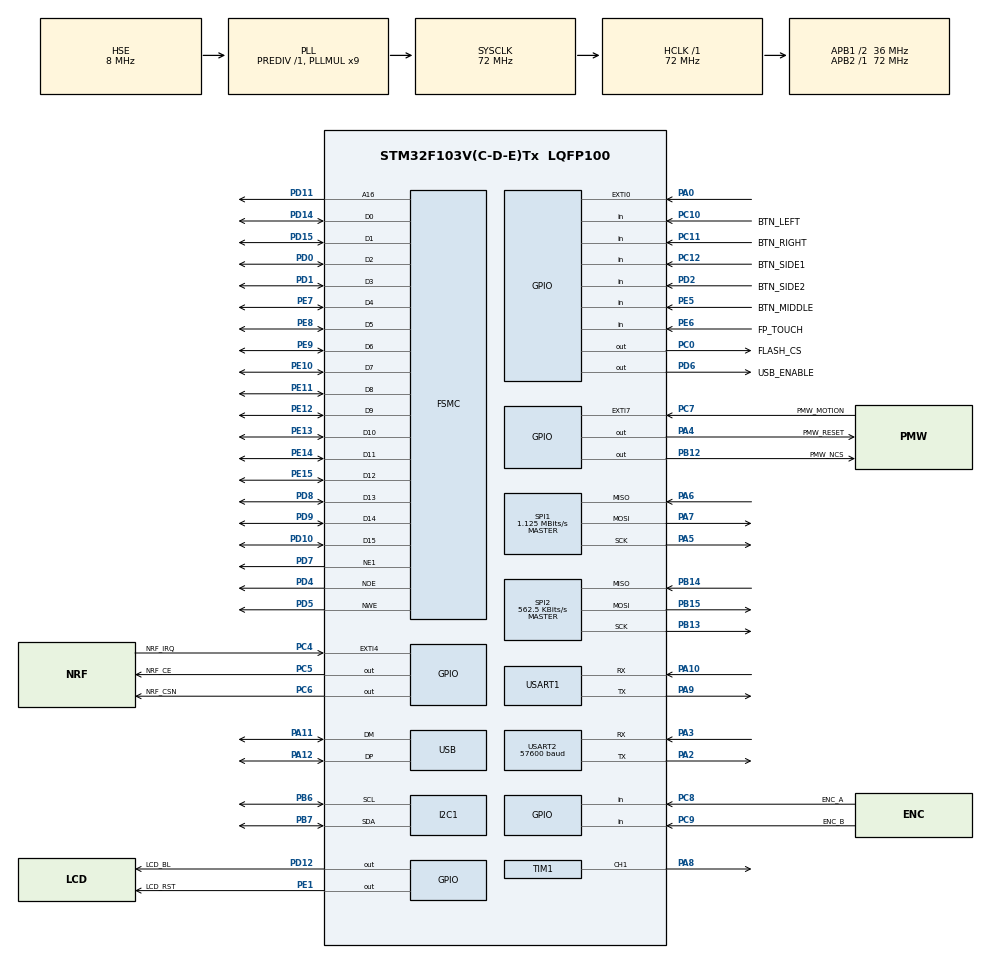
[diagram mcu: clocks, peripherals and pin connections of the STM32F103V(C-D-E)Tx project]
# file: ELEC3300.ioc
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Dma.Request0=TIM1_CH1
Dma.TIM1_CH1.0.Direction=DMA_MEMORY_TO_PERIPH
Dma.TIM1_CH1.0.Instance=DMA1_Channel2
Dma.TIM1_CH1.0.MemDataAlignment=DMA_MDATAALIGN_HALFWORD
Dma.TIM1_CH1.0.MemInc=DMA_MINC_ENABLE
Dma.TIM1_CH1.0.Mode=DMA_NORMAL
Dma.TIM1_CH1.0.PeriphDataAlignment=DMA_PDATAALIGN_HALFWORD
Dma.TIM1_CH1.0.PeriphInc=DMA_PINC_DISABLE
Dma.TIM1_CH1.0.Priority=DMA_PRIORITY_HIGH
FREERTOS.Tasks01=defaultTask,16,512,StartDefaultTask,Default,NULL,Dynamic,NULL,NULL
FREERTOS.configTOTAL_HEAP_SIZE=16384
Mcu.Family=STM32F1
Mcu.Name=STM32F103V(C-D-E)Tx
Mcu.Package=LQFP100
NVIC.DMA1_Channel2_IRQn=true\:5\:0\:false\:false\:true\:true\:false\:true\:true
NVIC.EXTI0_IRQn=true\:5\:0\:false\:false\:true\:true\:true\:true\:true
NVIC.EXTI4_IRQn=true\:5\:0\:false\:false\:true\:true\:true\:true\:true
NVIC.EXTI9_5_IRQn=true\:5\:0\:false\:false\:true\:true\:true\:true\:true
NVIC.PriorityGroup=NVIC_PRIORITYGROUP_4
NVIC.TIM4_IRQn=true\:15\:0\:false\:false\:true\:false\:false\:true\:true
NVIC.TimeBase=TIM4_IRQn
NVIC.TimeBaseIP=TIM4
NVIC.USART2_IRQn=true\:5\:0\:false\:false\:true\:true\:true\:true\:true
NVIC.USART1_IRQn=true\:5\:0\:false\:false\:true\:true\:true\:true\:true
NVIC.USB_LP_CAN1_RX0_IRQn=true\:5\:0\:false\:false\:true\:false\:true\:true\:true
OSC_IN.Mode=HSE-External-Oscillator
OSC_IN.Signal=RCC_OSC_IN
OSC_OUT.Mode=HSE-External-Oscillator
OSC_OUT.Signal=RCC_OSC_OUT
PA0-WKUP.Signal=GPXTI0
PA10.Mode=Asynchronous
PA10.Signal=USART1_RX
PA11.Mode=Device
PA11.Signal=USB_DM
PA12.Mode=Device
PA12.Signal=USB_DP
PA13.Mode=Serial_Wire
PA13.Signal=SYS_JTMS-SWDIO
PA14.Mode=Serial_Wire
PA14.Signal=SYS_JTCK-SWCLK
PA2.Mode=Asynchronous
PA2.Signal=USART2_TX
PA3.Mode=Asynchronous
PA3.Signal=USART2_RX
PA4.GPIO_Label=PMW_RESET
PA4.PinState=GPIO_PIN_SET
PA4.Signal=GPIO_Output
PA5.Mode=Full_Duplex_Master
PA5.Signal=SPI1_SCK
PA6.Mode=Full_Duplex_Master
PA6.Signal=SPI1_MISO
PA7.Mode=Full_Duplex_Master
PA7.Signal=SPI1_MOSI
PA8.GPIO_Speed=GPIO_SPEED_FREQ_HIGH
PA8.Signal=S_TIM1_CH1
PA9.Mode=Asynchronous
PA9.Signal=USART1_TX
PB12.GPIO_Label=PMW_NCS
PB12.PinState=GPIO_PIN_SET
PB12.Signal=GPIO_Output
PB13.Mode=Full_Duplex_Master
PB13.Signal=SPI2_SCK
PB14.Mode=Full_Duplex_Master
PB14.Signal=SPI2_MISO
PB15.Mode=Full_Duplex_Master
PB15.Signal=SPI2_MOSI
PB6.Mode=I2C
PB6.Signal=I2C1_SCL
PB7.Mode=I2C
PB7.Signal=I2C1_SDA
PC0.GPIO_Label=FLASH_CS
PC0.PinState=GPIO_PIN_SET
PC0.Signal=GPIO_Output
PC10.GPIO_Label=BTN_LEFT
PC10.GPIO_PuPd=GPIO_PULLUP
PC10.Signal=GPIO_Input
PC11.GPIO_Label=BTN_RIGHT
PC11.GPIO_PuPd=GPIO_PULLUP
PC11.Signal=GPIO_Input
PC12.GPIO_Label=BTN_SIDE1
PC12.GPIO_PuPd=GPIO_PULLUP
PC12.Signal=GPIO_Input
PC4.GPIO_Label=NRF_IRQ
PC4.GPIO_ModeDefaultEXTI=GPIO_MODE_IT_FALLING
PC4.GPIO_PuPd=GPIO_PULLUP
PC4.Signal=GPXTI4
PC5.GPIO_Label=NRF_CE
PC5.Signal=GPIO_Output
PC6.GPIO_Label=NRF_CSN
PC6.PinState=GPIO_PIN_SET
PC6.Signal=GPIO_Output
PC7.GPIO_Label=PMW_MOTION
PC7.GPIO_ModeDefaultEXTI=GPIO_MODE_IT_FALLING
PC7.GPIO_PuPd=GPIO_PULLUP
PC7.Signal=GPXTI7
PC8.GPIO_Label=ENC_A
PC8.GPIO_PuPd=GPIO_PULLUP
PC8.Signal=GPIO_Input
PC9.GPIO_Label=ENC_B
PC9.GPIO_PuPd=GPIO_PULLUP
PC9.Signal=GPIO_Input
PD0.Mode=16b-d1
PD0.Signal=FSMC_D2
PD1.Mode=16b-d1
PD1.Signal=FSMC_D3
PD10.Mode=16b-d1
PD10.Signal=FSMC_D15
PD11.Mode=A16_1
PD11.Signal=FSMC_A16
PD12.GPIO_Label=LCD_BL
PD12.GPIO_Speed=GPIO_SPEED_FREQ_HIGH
PD12.PinState=GPIO_PIN_RESET
PD12.Signal=GPIO_Output
PD14.Mode=16b-d1
PD14.Signal=FSMC_D0
PD15.Mode=16b-d1
PD15.Signal=FSMC_D1
PD2.GPIO_Label=BTN_SIDE2
PD2.GPIO_PuPd=GPIO_PULLUP
PD2.Signal=GPIO_Input
PD4.Mode=Lcd1
PD4.Signal=FSMC_NOE
PD5.Mode=Lcd1
PD5.Signal=FSMC_NWE
PD6.GPIO_Label=USB_ENABLE
PD6.PinState=GPIO_PIN_SET
PD6.Signal=GPIO_Output
PD7.Mode=NorPsramChipSelect1_1
PD7.Signal=FSMC_NE1
PD8.Mode=16b-d1
PD8.Signal=FSMC_D13
PD9.Mode=16b-d1
PD9.Signal=FSMC_D14
PE1.GPIO_Label=LCD_RST
PE1.GPIO_Speed=GPIO_SPEED_FREQ_HIGH
PE1.PinState=GPIO_PIN_RESET
PE1.Signal=GPIO_Output
PE10.Mode=16b-d1
PE10.Signal=FSMC_D7
PE11.Mode=16b-d1
PE11.Signal=FSMC_D8
PE12.Mode=16b-d1
PE12.Signal=FSMC_D9
PE13.Mode=16b-d1
PE13.Signal=FSMC_D10
PE14.Mode=16b-d1
PE14.Signal=FSMC_D11
PE15.Mode=16b-d1
PE15.Signal=FSMC_D12
PE5.GPIO_Label=BTN_MIDDLE
PE5.GPIO_PuPd=GPIO_PULLUP
PE5.Signal=GPIO_Input
PE6.GPIO_Label=FP_TOUCH
PE6.Signal=GPIO_Input
PE7.Mode=16b-d1
PE7.Signal=FSMC_D4
PE8.Mode=16b-d1
PE8.Signal=FSMC_D5
PE9.Mode=16b-d1
PE9.Signal=FSMC_D6
ProjectManager.HeapSize=0x200
ProjectManager.StackSize=0x400
ProjectManager.TargetToolchain=CMake
RCC.AHBFreq_Value=72000000
RCC.APB1CLKDivider=RCC_HCLK_DIV2
RCC.APB1Freq_Value=36000000
RCC.APB1TimFreq_Value=72000000
RCC.APB2Freq_Value=72000000
RCC.APB2TimFreq_Value=72000000
RCC.HCLKFreq_Value=72000000
RCC.PLLMUL=RCC_PLL_MUL9
RCC.PLLSourceVirtual=RCC_PLLSOURCE_HSE
RCC.SYSCLKFreq_VALUE=72000000
RCC.SYSCLKSource=RCC_SYSCLKSOURCE_PLLCLK
RCC.USBPrescaler=RCC_USBCLKSOURCE_PLL_DIV1_5
RCC.USBFreq_Value=48000000
SH.S_TIM1_CH1.0=TIM1_CH1,PWM Generation1 CH1
SPI1.BaudRatePrescaler=SPI_BAUDRATEPRESCALER_64
SPI1.CalculateBaudRate=1.125 MBits/s
SPI1.Direction=SPI_DIRECTION_2LINES
SPI1.Mode=SPI_MODE_MASTER
SPI1.VirtualType=VM_MASTER
SPI2.BaudRatePrescaler=SPI_BAUDRATEPRESCALER_64
SPI2.CLKPhase=SPI_PHASE_2EDGE
SPI2.CLKPolarity=SPI_POLARITY_HIGH
SPI2.CalculateBaudRate=562.5 KBits/s
SPI2.Direction=SPI_DIRECTION_2LINES
SPI2.Mode=SPI_MODE_MASTER
SPI2.VirtualType=VM_MASTER
TIM1.Channel-PWM\ Generation1\ CH1=TIM_CHANNEL_1
TIM1.Period=89
USART1.VirtualMode=VM_ASYNC
USART2.BaudRate=57600
USART2.VirtualMode=VM_ASYNC
USB_DEVICE.CLASS_NAME_FS=HID
USB_DEVICE.VirtualMode=Hid
USB_DEVICE.VirtualModeFS=Hid_FS
VP_FREERTOS_VS_CMSIS_V2.Mode=CMSIS_V2
VP_SYS_VS_tim4.Mode=TIM4
VP_TIM1_VS_ClockSourceINT.Mode=Internal
VP_USB_DEVICE_VS_USB_DEVICE_HID_FS.Mode=HID_FS
board=custom

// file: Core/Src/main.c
/* USER CODE BEGIN Header */
/**
  ******************************************************************************
  * @file           : main.c
  * @brief          : Main program body
  ******************************************************************************
  * @attention
  *
  * Copyright (c) 2026 STMicroelectronics.
  * All rights reserved.
  *
  * This software is licensed under terms that can be found in the LICENSE file
  * in the root directory of this software component.
  * If no LICENSE file comes with this software, it is provided AS-IS.
  *
  ******************************************************************************
  */
/* USER CODE END Header */
#include "main.h"
#include "cmsis_os.h"

/* USER CODE BEGIN Includes */
#include "lcd.h"
#include "mouse_app.h"
#include "zw3020.h"
#include "usb_device.h"
#include "ws2812b.h"
#include "ws2812b_task.h"
#include "console_uart.h"
/* USER CODE END Includes */

I2C_HandleTypeDef hi2c1;

SPI_HandleTypeDef hspi1;
SPI_HandleTypeDef hspi2;

TIM_HandleTypeDef htim1;
DMA_HandleTypeDef hdma_tim1_ch1;

UART_HandleTypeDef huart1;
UART_HandleTypeDef huart2;

SRAM_HandleTypeDef hsram1;

/* Definitions for defaultTask */
osThreadId_t defaultTaskHandle;
const osThreadAttr_t defaultTask_attributes = {
  .name = "defaultTask",
  .stack_size = 512 * 4,
  .priority = (osPriority_t) osPriorityBelowNormal,
};

void SystemClock_Config(void);
static void MX_GPIO_Init(void);
static void MX_DMA_Init(void);
static void MX_I2C1_Init(void);
static void MX_SPI1_Init(void);
static void MX_SPI2_Init(void);
static void MX_USART1_UART_Init(void);
static void MX_USART2_UART_Init(void);
static void MX_FSMC_Init(void);
static void MX_TIM1_Init(void);
void StartDefaultTask(void *argument);

int main(void)
{

  /* MCU Configuration--------------------------------------------------------*/

  /* Reset of all peripherals, Initializes the Flash interface and the Systick. */
  HAL_Init();

  /* Configure the system clock */
  SystemClock_Config();

  /* Initialize all configured peripherals */
  MX_GPIO_Init();
  MX_DMA_Init();
  MX_I2C1_Init();
  MX_SPI1_Init();
  MX_SPI2_Init();
  MX_USART1_UART_Init();
  MX_USART2_UART_Init();
  MX_FSMC_Init();
  MX_TIM1_Init();
  /* USER CODE BEGIN 2 */
  LCD_INIT();
  LCD_DrawString(0, 0, "Starting mouse sensors...");
  MX_USB_DEVICE_Init();
  /* USER CODE END 2 */

  /* Init scheduler */
  osKernelInitialize();

  /* Create the thread(s) */
  /* creation of defaultTask */
  defaultTaskHandle = osThreadNew(StartDefaultTask, NULL, &defaultTask_attributes);

  /* USER CODE BEGIN RTOS_THREADS */
  if (defaultTaskHandle == NULL || !MouseApp_Init(&hspi2, &huart2, &huart1, &hi2c1))
  {
    LCD_DrawString(0, 20, "RTOS/sensor startup failed");
    Error_Handler();
  }
  if (!WS2812B_TaskStart(&htim1))
  {
    LCD_DrawString(0, 40, "LED task/config startup failed");
    Error_Handler();
  }
  /* USER CODE END RTOS_THREADS */

  /* Start scheduler */
  osKernelStart();

  /* We should never get here as control is now taken by the scheduler */

  /* Infinite loop */
  while (1)
  {

  }
}

void SystemClock_Config(void)
{
  RCC_OscInitTypeDef RCC_OscInitStruct = {0};
  RCC_ClkInitTypeDef RCC_ClkInitStruct = {0};
  RCC_PeriphCLKInitTypeDef usb_clock = {0};

  /** Initializes the RCC Oscillators according to the specified parameters
  * in the RCC_OscInitTypeDef structure.
  */
  RCC_OscInitStruct.OscillatorType = RCC_OSCILLATORTYPE_HSE;
  RCC_OscInitStruct.HSEState = RCC_HSE_ON;
  RCC_OscInitStruct.HSEPredivValue = RCC_HSE_PREDIV_DIV1;
  RCC_OscInitStruct.HSIState = RCC_HSI_ON;
  RCC_OscInitStruct.PLL.PLLState = RCC_PLL_ON;
  RCC_OscInitStruct.PLL.PLLSource = RCC_PLLSOURCE_HSE;
  RCC_OscInitStruct.PLL.PLLMUL = RCC_PLL_MUL9;
  if (HAL_RCC_OscConfig(&RCC_OscInitStruct) != HAL_OK)
  {
    Error_Handler();
  }

  /** Initializes the CPU, AHB and APB buses clocks
  */
  RCC_ClkInitStruct.ClockType = RCC_CLOCKTYPE_HCLK|RCC_CLOCKTYPE_SYSCLK
                              |RCC_CLOCKTYPE_PCLK1|RCC_CLOCKTYPE_PCLK2;
  RCC_ClkInitStruct.SYSCLKSource = RCC_SYSCLKSOURCE_PLLCLK;
  RCC_ClkInitStruct.AHBCLKDivider = RCC_SYSCLK_DIV1;
  RCC_ClkInitStruct.APB1CLKDivider = RCC_HCLK_DIV2;
  RCC_ClkInitStruct.APB2CLKDivider = RCC_HCLK_DIV1;

  if (HAL_RCC_ClockConfig(&RCC_ClkInitStruct, FLASH_LATENCY_2) != HAL_OK)
  {
    Error_Handler();
  }
  /* Keep CPU/peripheral clocks at 72 MHz; USB needs PLL / 1.5 = 48 MHz. */
  usb_clock.PeriphClockSelection = RCC_PERIPHCLK_USB;
  usb_clock.UsbClockSelection = RCC_USBCLKSOURCE_PLL_DIV1_5;
  if (HAL_RCCEx_PeriphCLKConfig(&usb_clock) != HAL_OK)
  {
    Error_Handler();
  }
}

static void MX_I2C1_Init(void)
{

  hi2c1.Instance = I2C1;
  hi2c1.Init.ClockSpeed = 100000;
  hi2c1.Init.DutyCycle = I2C_DUTYCYCLE_2;
  hi2c1.Init.OwnAddress1 = 0;
  hi2c1.Init.AddressingMode = I2C_ADDRESSINGMODE_7BIT;
  hi2c1.Init.DualAddressMode = I2C_DUALADDRESS_DISABLE;
  hi2c1.Init.OwnAddress2 = 0;
  hi2c1.Init.GeneralCallMode = I2C_GENERALCALL_DISABLE;
  hi2c1.Init.NoStretchMode = I2C_NOSTRETCH_DISABLE;
  if (HAL_I2C_Init(&hi2c1) != HAL_OK)
  {
    Error_Handler();
  }

}

static void MX_SPI1_Init(void)
{

  /* SPI1 parameter configuration*/
  hspi1.Instance = SPI1;
  hspi1.Init.Mode = SPI_MODE_MASTER;
  hspi1.Init.Direction = SPI_DIRECTION_2LINES;
  hspi1.Init.DataSize = SPI_DATASIZE_8BIT;
  hspi1.Init.CLKPolarity = SPI_POLARITY_LOW;
  hspi1.Init.CLKPhase = SPI_PHASE_1EDGE;
  hspi1.Init.NSS = SPI_NSS_SOFT;
  hspi1.Init.BaudRatePrescaler = SPI_BAUDRATEPRESCALER_64;
  hspi1.Init.FirstBit = SPI_FIRSTBIT_MSB;
  hspi1.Init.TIMode = SPI_TIMODE_DISABLE;
  hspi1.Init.CRCCalculation = SPI_CRCCALCULATION_DISABLE;
  hspi1.Init.CRCPolynomial = 10;
  if (HAL_SPI_Init(&hspi1) != HAL_OK)
  {
    Error_Handler();
  }

}

static void MX_SPI2_Init(void)
{

  /* SPI2 parameter configuration*/
  hspi2.Instance = SPI2;
  hspi2.Init.Mode = SPI_MODE_MASTER;
  hspi2.Init.Direction = SPI_DIRECTION_2LINES;
  hspi2.Init.DataSize = SPI_DATASIZE_8BIT;
  hspi2.Init.CLKPolarity = SPI_POLARITY_HIGH;
  hspi2.Init.CLKPhase = SPI_PHASE_2EDGE;
  hspi2.Init.NSS = SPI_NSS_SOFT;
  hspi2.Init.BaudRatePrescaler = SPI_BAUDRATEPRESCALER_64;
  hspi2.Init.FirstBit = SPI_FIRSTBIT_MSB;
  hspi2.Init.TIMode = SPI_TIMODE_DISABLE;
  hspi2.Init.CRCCalculation = SPI_CRCCALCULATION_DISABLE;
  hspi2.Init.CRCPolynomial = 10;
  if (HAL_SPI_Init(&hspi2) != HAL_OK)
  {
    Error_Handler();
  }

}

static void MX_TIM1_Init(void)
{

  TIM_ClockConfigTypeDef sClockSourceConfig = {0};
  TIM_MasterConfigTypeDef sMasterConfig = {0};
  TIM_OC_InitTypeDef sConfigOC = {0};
  TIM_BreakDeadTimeConfigTypeDef sBreakDeadTimeConfig = {0};

  htim1.Instance = TIM1;
  htim1.Init.Prescaler = 0;
  htim1.Init.CounterMode = TIM_COUNTERMODE_UP;
  htim1.Init.Period = 89;
  htim1.Init.ClockDivision = TIM_CLOCKDIVISION_DIV1;
  htim1.Init.RepetitionCounter = 0;
  htim1.Init.AutoReloadPreload = TIM_AUTORELOAD_PRELOAD_DISABLE;
  if (HAL_TIM_Base_Init(&htim1) != HAL_OK)
  {
    Error_Handler();
  }
  sClockSourceConfig.ClockSource = TIM_CLOCKSOURCE_INTERNAL;
  if (HAL_TIM_ConfigClockSource(&htim1, &sClockSourceConfig) != HAL_OK)
  {
    Error_Handler();
  }
  if (HAL_TIM_PWM_Init(&htim1) != HAL_OK)
  {
    Error_Handler();
  }
  sMasterConfig.MasterOutputTrigger = TIM_TRGO_RESET;
  sMasterConfig.MasterSlaveMode = TIM_MASTERSLAVEMODE_DISABLE;
  if (HAL_TIMEx_MasterConfigSynchronization(&htim1, &sMasterConfig) != HAL_OK)
  {
    Error_Handler();
  }
  sConfigOC.OCMode = TIM_OCMODE_PWM1;
  sConfigOC.Pulse = 0;
  sConfigOC.OCPolarity = TIM_OCPOLARITY_HIGH;
  sConfigOC.OCNPolarity = TIM_OCNPOLARITY_HIGH;
  sConfigOC.OCFastMode = TIM_OCFAST_DISABLE;
  sConfigOC.OCIdleState = TIM_OCIDLESTATE_RESET;
  sConfigOC.OCNIdleState = TIM_OCNIDLESTATE_RESET;
  if (HAL_TIM_PWM_ConfigChannel(&htim1, &sConfigOC, TIM_CHANNEL_1) != HAL_OK)
  {
    Error_Handler();
  }
  sBreakDeadTimeConfig.OffStateRunMode = TIM_OSSR_DISABLE;
  sBreakDeadTimeConfig.OffStateIDLEMode = TIM_OSSI_DISABLE;
  sBreakDeadTimeConfig.LockLevel = TIM_LOCKLEVEL_OFF;
  sBreakDeadTimeConfig.DeadTime = 0;
  sBreakDeadTimeConfig.BreakState = TIM_BREAK_DISABLE;
  sBreakDeadTimeConfig.BreakPolarity = TIM_BREAKPOLARITY_HIGH;
  sBreakDeadTimeConfig.AutomaticOutput = TIM_AUTOMATICOUTPUT_DISABLE;
  if (HAL_TIMEx_ConfigBreakDeadTime(&htim1, &sBreakDeadTimeConfig) != HAL_OK)
  {
    Error_Handler();
  }
  HAL_TIM_MspPostInit(&htim1);

}

static void MX_USART1_UART_Init(void)
{

  huart1.Instance = USART1;
  huart1.Init.BaudRate = 115200;
  huart1.Init.WordLength = UART_WORDLENGTH_8B;
  huart1.Init.StopBits = UART_STOPBITS_1;
  huart1.Init.Parity = UART_PARITY_NONE;
  huart1.Init.Mode = UART_MODE_TX_RX;
  huart1.Init.HwFlowCtl = UART_HWCONTROL_NONE;
  huart1.Init.OverSampling = UART_OVERSAMPLING_16;
  if (HAL_UART_Init(&huart1) != HAL_OK)
  {
    Error_Handler();
  }

}

static void MX_USART2_UART_Init(void)
{

  huart2.Instance = USART2;
  huart2.Init.BaudRate = 57600;
  huart2.Init.WordLength = UART_WORDLENGTH_8B;
  huart2.Init.StopBits = UART_STOPBITS_1;
  huart2.Init.Parity = UART_PARITY_NONE;
  huart2.Init.Mode = UART_MODE_TX_RX;
  huart2.Init.HwFlowCtl = UART_HWCONTROL_NONE;
  huart2.Init.OverSampling = UART_OVERSAMPLING_16;
  if (HAL_UART_Init(&huart2) != HAL_OK)
  {
    Error_Handler();
  }

}

static void MX_DMA_Init(void)
{

  /* DMA controller clock enable */
  __HAL_RCC_DMA1_CLK_ENABLE();

  /* DMA interrupt init */
  /* DMA1_Channel2_IRQn interrupt configuration */
  HAL_NVIC_SetPriority(DMA1_Channel2_IRQn, 5, 0);
  HAL_NVIC_EnableIRQ(DMA1_Channel2_IRQn);

}

static void MX_GPIO_Init(void)
{
  GPIO_InitTypeDef GPIO_InitStruct = {0};

  /* GPIO Ports Clock Enable */
  __HAL_RCC_GPIOE_CLK_ENABLE();
  __HAL_RCC_GPIOC_CLK_ENABLE();
  __HAL_RCC_GPIOA_CLK_ENABLE();
  __HAL_RCC_GPIOB_CLK_ENABLE();
  __HAL_RCC_GPIOD_CLK_ENABLE();

  /*Configure GPIO pin Output Level */
  HAL_GPIO_WritePin(GPIOC, FLASH_CS_Pin|NRF_CSN_Pin, GPIO_PIN_SET);

  /*Configure GPIO pin Output Level */
  HAL_GPIO_WritePin(PMW_RESET_GPIO_Port, PMW_RESET_Pin, GPIO_PIN_SET);

  /*Configure GPIO pin Output Level */
  HAL_GPIO_WritePin(NRF_CE_GPIO_Port, NRF_CE_Pin, GPIO_PIN_RESET);

  /*Configure GPIO pin Output Level */
  HAL_GPIO_WritePin(PMW_NCS_GPIO_Port, PMW_NCS_Pin, GPIO_PIN_SET);

  /*Configure GPIO pin Output Level */
  HAL_GPIO_WritePin(LCD_BL_GPIO_Port, LCD_BL_Pin, GPIO_PIN_RESET);

  /*Configure GPIO pin Output Level */
  HAL_GPIO_WritePin(LCD_RST_GPIO_Port, LCD_RST_Pin, GPIO_PIN_RESET);

  /*Configure GPIO pin : BTN_MIDDLE_Pin */
  GPIO_InitStruct.Pin = BTN_MIDDLE_Pin;
  GPIO_InitStruct.Mode = GPIO_MODE_INPUT;
  GPIO_InitStruct.Pull = GPIO_PULLUP;
  HAL_GPIO_Init(BTN_MIDDLE_GPIO_Port, &GPIO_InitStruct);

  /*Configure GPIO pins : FLASH_CS_Pin NRF_CE_Pin NRF_CSN_Pin */
  GPIO_InitStruct.Pin = FLASH_CS_Pin|NRF_CE_Pin|NRF_CSN_Pin;
  GPIO_InitStruct.Mode = GPIO_MODE_OUTPUT_PP;
  GPIO_InitStruct.Pull = GPIO_NOPULL;
  GPIO_InitStruct.Speed = GPIO_SPEED_FREQ_LOW;
  HAL_GPIO_Init(GPIOC, &GPIO_InitStruct);

  /*Configure GPIO pin : PA0 */
  GPIO_InitStruct.Pin = GPIO_PIN_0;
  GPIO_InitStruct.Mode = GPIO_MODE_IT_RISING;
  GPIO_InitStruct.Pull = GPIO_NOPULL;
  HAL_GPIO_Init(GPIOA, &GPIO_InitStruct);

  /*Configure GPIO pin : PMW_RESET_Pin */
  GPIO_InitStruct.Pin = PMW_RESET_Pin;
  GPIO_InitStruct.Mode = GPIO_MODE_OUTPUT_PP;
  GPIO_InitStruct.Pull = GPIO_NOPULL;
  GPIO_InitStruct.Speed = GPIO_SPEED_FREQ_LOW;
  HAL_GPIO_Init(PMW_RESET_GPIO_Port, &GPIO_InitStruct);

  /*Configure GPIO pins : NRF_IRQ_Pin PMW_MOTION_Pin */
  GPIO_InitStruct.Pin = NRF_IRQ_Pin|PMW_MOTION_Pin;
  GPIO_InitStruct.Mode = GPIO_MODE_IT_FALLING;
  GPIO_InitStruct.Pull = GPIO_PULLUP;
  HAL_GPIO_Init(GPIOC, &GPIO_InitStruct);

  /*Configure GPIO pin : PMW_NCS_Pin */
  GPIO_InitStruct.Pin = PMW_NCS_Pin;
  GPIO_InitStruct.Mode = GPIO_MODE_OUTPUT_PP;
  GPIO_InitStruct.Pull = GPIO_NOPULL;
  GPIO_InitStruct.Speed = GPIO_SPEED_FREQ_LOW;
  HAL_GPIO_Init(PMW_NCS_GPIO_Port, &GPIO_InitStruct);

  /*Configure GPIO pin : LCD_BL_Pin */
  GPIO_InitStruct.Pin = LCD_BL_Pin;
  GPIO_InitStruct.Mode = GPIO_MODE_OUTPUT_PP;
  GPIO_InitStruct.Pull = GPIO_NOPULL;
  GPIO_InitStruct.Speed = GPIO_SPEED_FREQ_HIGH;
  HAL_GPIO_Init(LCD_BL_GPIO_Port, &GPIO_InitStruct);

  /*Configure GPIO pins : ENC_A_Pin ENC_B_Pin BTN_LEFT_Pin BTN_RIGHT_Pin
                           BTN_SIDE1_Pin */
  GPIO_InitStruct.Pin = ENC_A_Pin|ENC_B_Pin|BTN_LEFT_Pin|BTN_RIGHT_Pin
                          |BTN_SIDE1_Pin;
  GPIO_InitStruct.Mode = GPIO_MODE_INPUT;
  GPIO_InitStruct.Pull = GPIO_PULLUP;
  HAL_GPIO_Init(GPIOC, &GPIO_InitStruct);

  /*Configure GPIO pin : BTN_SIDE2_Pin */
  GPIO_InitStruct.Pin = BTN_SIDE2_Pin;
  GPIO_InitStruct.Mode = GPIO_MODE_INPUT;
  GPIO_InitStruct.Pull = GPIO_PULLUP;
  HAL_GPIO_Init(BTN_SIDE2_GPIO_Port, &GPIO_InitStruct);

  /*Configure GPIO pin : LCD_RST_Pin */
  GPIO_InitStruct.Pin = LCD_RST_Pin;
  GPIO_InitStruct.Mode = GPIO_MODE_OUTPUT_PP;
  GPIO_InitStruct.Pull = GPIO_NOPULL;
  GPIO_InitStruct.Speed = GPIO_SPEED_FREQ_HIGH;
  HAL_GPIO_Init(LCD_RST_GPIO_Port, &GPIO_InitStruct);

  /* EXTI interrupt init*/
  HAL_NVIC_SetPriority(EXTI0_IRQn, 5, 0);
  HAL_NVIC_EnableIRQ(EXTI0_IRQn);

  HAL_NVIC_SetPriority(EXTI4_IRQn, 5, 0);
  HAL_NVIC_EnableIRQ(EXTI4_IRQn);

  HAL_NVIC_SetPriority(EXTI9_5_IRQn, 5, 0);
  HAL_NVIC_EnableIRQ(EXTI9_5_IRQn);

  /* USER CODE BEGIN MX_GPIO_Init_2 */
  /* MINI V3 PD6 drives the external USB D+ pull-up transistor, active low. */
  HAL_GPIO_WritePin(USB_ENABLE_GPIO_Port, USB_ENABLE_Pin, GPIO_PIN_SET);
  GPIO_InitStruct.Pin = USB_ENABLE_Pin;
  GPIO_InitStruct.Mode = GPIO_MODE_OUTPUT_PP;
  GPIO_InitStruct.Pull = GPIO_NOPULL;
  GPIO_InitStruct.Speed = GPIO_SPEED_FREQ_LOW;
  HAL_GPIO_Init(USB_ENABLE_GPIO_Port, &GPIO_InitStruct);
  /* PE6 is the unused DHT/DS18B20 data connector, with a board 3.3 V pull-up.
   * Use only as a raw TOUCHOUT diagnostic; UART matching verifies identity.
   */
  GPIO_InitStruct.Pin = FP_TOUCH_Pin;
  GPIO_InitStruct.Mode = GPIO_MODE_INPUT;
  GPIO_InitStruct.Pull = GPIO_NOPULL;
  HAL_GPIO_Init(FP_TOUCH_GPIO_Port, &GPIO_InitStruct);
  /* USER CODE END MX_GPIO_Init_2 */
}

/* FSMC initialization function */
static void MX_FSMC_Init(void)
{

  FSMC_NORSRAM_TimingTypeDef Timing = {0};

  /** Perform the SRAM1 memory initialization sequence
  */
  hsram1.Instance = FSMC_NORSRAM_DEVICE;
  hsram1.Extended = FSMC_NORSRAM_EXTENDED_DEVICE;
  /* hsram1.Init */
  hsram1.Init.NSBank = FSMC_NORSRAM_BANK1;
  hsram1.Init.DataAddressMux = FSMC_DATA_ADDRESS_MUX_DISABLE;
  hsram1.Init.MemoryType = FSMC_MEMORY_TYPE_SRAM;
  hsram1.Init.MemoryDataWidth = FSMC_NORSRAM_MEM_BUS_WIDTH_16;
  hsram1.Init.BurstAccessMode = FSMC_BURST_ACCESS_MODE_DISABLE;
  hsram1.Init.WaitSignalPolarity = FSMC_WAIT_SIGNAL_POLARITY_LOW;
  hsram1.Init.WrapMode = FSMC_WRAP_MODE_DISABLE;
  hsram1.Init.WaitSignalActive = FSMC_WAIT_TIMING_BEFORE_WS;
  hsram1.Init.WriteOperation = FSMC_WRITE_OPERATION_ENABLE;
  hsram1.Init.WaitSignal = FSMC_WAIT_SIGNAL_DISABLE;
  hsram1.Init.ExtendedMode = FSMC_EXTENDED_MODE_DISABLE;
  hsram1.Init.AsynchronousWait = FSMC_ASYNCHRONOUS_WAIT_DISABLE;
  hsram1.Init.WriteBurst = FSMC_WRITE_BURST_DISABLE;
  /* Timing */
  Timing.AddressSetupTime = 15;
  Timing.AddressHoldTime = 15;
  Timing.DataSetupTime = 255;
  Timing.BusTurnAroundDuration = 15;
  Timing.CLKDivision = 16;
  Timing.DataLatency = 17;
  Timing.AccessMode = FSMC_ACCESS_MODE_A;
  /* ExtTiming */

  if (HAL_SRAM_Init(&hsram1, &Timing, NULL) != HAL_OK)
  {
    Error_Handler( );
  }

  /** Disconnect NADV
  */

  __HAL_AFIO_FSMCNADV_DISCONNECTED();

}

/* USER CODE BEGIN 4 */
void HAL_UART_RxCpltCallback(UART_HandleTypeDef *uart)
{
  Zw3020_OnRxComplete(uart);
  Console_OnRxComplete(uart);
}

void HAL_UART_ErrorCallback(UART_HandleTypeDef *uart)
{
  Zw3020_OnUartError(uart);
  Console_OnError(uart);
}

void HAL_UART_TxCpltCallback(UART_HandleTypeDef *uart)
{
  Console_OnTxComplete(uart);
}

void HAL_TIM_PWM_PulseFinishedCallback(TIM_HandleTypeDef *timer)
{
  WS2812B_OnPulseFinished(timer);
}

void HAL_TIM_ErrorCallback(TIM_HandleTypeDef *timer)
{
  WS2812B_OnTimerError(timer);
}
/* USER CODE END 4 */

void StartDefaultTask(void *argument)
{
  /* USER CODE BEGIN 5 */
  (void)argument;
  MouseApp_RunDisplay();
  /* USER CODE END 5 */
}

void HAL_TIM_PeriodElapsedCallback(TIM_HandleTypeDef *htim)
{
  if (htim->Instance == TIM4)
  {
    HAL_IncTick();
  }
  /* USER CODE BEGIN Callback 1 */
  if (htim->Instance == TIM4)
  {
    MouseApp_SampleInputs1ms();
  }
  /* USER CODE END Callback 1 */
}

void Error_Handler(void)
{
  __disable_irq();
  while (1)
  {
  }
}
